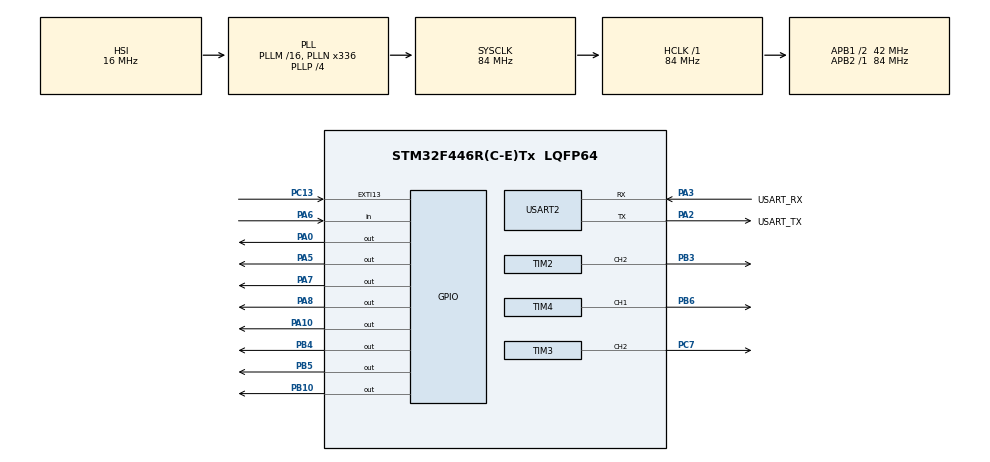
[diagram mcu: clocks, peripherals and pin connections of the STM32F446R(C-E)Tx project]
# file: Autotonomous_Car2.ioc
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Mcu.Family=STM32F4
Mcu.Name=STM32F446R(C-E)Tx
Mcu.Package=LQFP64
NUCLEO-F446RE.BUTTON=1
NUCLEO-F446RE.LD1=true
NVIC.EXTI15_10_IRQn=true\:0\:0\:false\:false\:true\:false\:true\:true
NVIC.PriorityGroup=NVIC_PRIORITYGROUP_0
PA0-WKUP.Signal=GPIO_Output
PA10.Signal=GPIO_Output
PA13.GPIO_Label=TMS
PA13.Signal=SYS_JTMS-SWDIO
PA14.GPIO_Label=TCK
PA14.Signal=SYS_JTCK-SWCLK
PA2.GPIO_Label=USART_TX
PA2.Mode=Asynchronous
PA2.Signal=USART2_TX
PA3.GPIO_Label=USART_RX
PA3.Mode=Asynchronous
PA3.Signal=USART2_RX
PA5.Signal=GPIO_Output
PA6.Signal=GPIO_Input
PA7.Signal=GPIO_Output
PA8.Signal=GPIO_Output
PB10.Signal=GPIO_Output
PB3.Signal=S_TIM2_CH2
PB4.Signal=GPIO_Output
PB5.Signal=GPIO_Output
PB6.Signal=S_TIM4_CH1
PC13.Signal=GPXTI13
PC14-OSC32_IN.Signal=RCC_OSC32_IN
PC15-OSC32_OUT.Signal=RCC_OSC32_OUT
PC7.Signal=S_TIM3_CH2
PH0-OSC_IN.Signal=RCC_OSC_IN
PH1-OSC_OUT.Signal=RCC_OSC_OUT
ProjectManager.HeapSize=0x200
ProjectManager.StackSize=0x400
ProjectManager.TargetToolchain=STM32CubeIDE
RCC.AHBFreq_Value=84000000
RCC.APB1CLKDivider=RCC_HCLK_DIV2
RCC.APB1Freq_Value=42000000
RCC.APB1TimFreq_Value=84000000
RCC.APB2Freq_Value=84000000
RCC.APB2TimFreq_Value=84000000
RCC.CortexFreq_Value=84000000
RCC.FLatency-AdvancedSettings=FLASH_LATENCY_2
RCC.HCLKFreq_Value=84000000
RCC.HSE_VALUE=8000000
RCC.HSI_VALUE=16000000
RCC.LSE_VALUE=32768
RCC.PLLN=336
RCC.PLLP=RCC_PLLP_DIV4
RCC.SYSCLKFreq_VALUE=84000000
RCC.SYSCLKSource=RCC_SYSCLKSOURCE_PLLCLK
RCC.USBFreq_Value=168000000
RCC.VCOOutputFreq_Value=336000000
SH.S_TIM2_CH2.0=TIM2_CH2,PWM Generation2 CH2
SH.S_TIM3_CH2.0=TIM3_CH2,PWM Generation2 CH2
SH.S_TIM4_CH1.0=TIM4_CH1,PWM Generation1 CH1
TIM2.Channel-PWM\ Generation2\ CH2=TIM_CHANNEL_2
TIM2.Period=4199
TIM3.Channel-PWM\ Generation2\ CH2=TIM_CHANNEL_2
TIM3.Period=20000
TIM3.Prescaler=83
TIM4.Channel-PWM\ Generation1\ CH1=TIM_CHANNEL_1
TIM4.Period=4199
TIM5.Prescaler=83
USART2.VirtualMode=VM_ASYNC
VP_NUCLEO-F446RE_VS_BSP_COMMON.Mode=COMMON
VP_TIM2_VS_ClockSourceINT.Mode=Internal
VP_TIM3_VS_ClockSourceINT.Mode=Internal
VP_TIM5_VS_ClockSourceINT.Mode=Internal
board=NUCLEO-F446RE

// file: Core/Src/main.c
/* USER CODE BEGIN Header */
/**
  ******************************************************************************
  * @file           : main.c
  * @brief          : Main program body
  ******************************************************************************
  * @attention
  *
  * Copyright (c) 2026 STMicroelectronics.
  * All rights reserved.
  *
  * This software is licensed under terms that can be found in the LICENSE file
  * in the root directory of this software component.
  * If no LICENSE file comes with this software, it is provided AS-IS.
  *
  ******************************************************************************
  */
/* USER CODE END Header */
#include "main.h"

TIM_HandleTypeDef htim2;
TIM_HandleTypeDef htim3;
TIM_HandleTypeDef htim4;
TIM_HandleTypeDef htim5;

UART_HandleTypeDef huart2;

void SystemClock_Config(void);
static void MX_GPIO_Init(void);
static void MX_TIM2_Init(void);
static void MX_TIM3_Init(void);
static void MX_USART2_UART_Init(void);
static void MX_TIM4_Init(void);
static void MX_TIM5_Init(void);

/* USER CODE BEGIN 0 */

#include <stdio.h>
#include <string.h>

const int max_duty_cycle = 4199; // 0 to 4199

const int side_a_duty_cycle = 4199;
const int side_b_duty_cycle = 3550;

int __io_putchar(int ch)
{
	uint8_t c = (uint8_t)ch;
	HAL_UART_Transmit(&huart2, &c, 1, HAL_MAX_DELAY);
	return ch;
}

void delay_us(uint32_t us)
{
	TIM5->CNT = 0;
	while (TIM5->CNT < us)
	{
		// wait
	}
}

float run_ultrasonic_distance_measurement(void)
{
	int echo_time_us = 0;

	HAL_GPIO_WritePin(GPIOA, GPIO_PIN_7, SET);
	delay_us(10);
	HAL_GPIO_WritePin(GPIOA, GPIO_PIN_7, RESET);

	while (HAL_GPIO_ReadPin(GPIOA, GPIO_PIN_6) == RESET)
	{
		// wait for echo pin to go high
	}

	// Set us timer to 0 then use it for counting
	TIM5->CNT = 0;

	while (HAL_GPIO_ReadPin(GPIOA, GPIO_PIN_6) == SET)
	{
		// timer then accumulates the time echo is high
	}

	echo_time_us = TIM5->CNT;

	// calculate distance
	float distance_cm = ((float)echo_time_us / 1000000.0f) * 343.0f / 2.0f * 100.0f; // converts time to distance in cm

	return distance_cm;
}

void servo_turn_to_angle(int angle)
{
	if (angle == 0)
	{
		TIM3->CCR2 = 500;
		printf("0 degrees \r\n");
	}
	else if (angle == 90)
	{
		TIM3->CCR2 = 1500;
		printf("90 degrees \r\n");
	}
	else if (angle == 180)
	{
		TIM3->CCR2 = 2500;
		printf("180 degrees \r\n");
	}
	else
	{
		printf("Bad angle entered: %d\r\n", angle);
	}

	HAL_Delay(500);
}

void drive_forward(int delay_time)
  {
	  TIM2->CCR2 = side_a_duty_cycle;
	  TIM4->CCR1 = side_b_duty_cycle;

	  HAL_GPIO_WritePin(GPIOB, GPIO_PIN_5, RESET); // AIN1
	  HAL_GPIO_WritePin(GPIOB, GPIO_PIN_4, SET); //AIN2
	  HAL_GPIO_WritePin(GPIOB, GPIO_PIN_10, RESET); //BIN1
	  HAL_GPIO_WritePin(GPIOA, GPIO_PIN_8, SET); //BIN2

	  HAL_Delay(delay_time);
  }

  void stop_car(int delay_time)
  {
	 HAL_GPIO_WritePin(GPIOB, GPIO_PIN_5, RESET); // AIN1
	 HAL_GPIO_WritePin(GPIOB, GPIO_PIN_4, RESET); //AIN2
	 HAL_GPIO_WritePin(GPIOB, GPIO_PIN_10, RESET); //BIN1
	 HAL_GPIO_WritePin(GPIOA, GPIO_PIN_8, RESET); //BIN2

	 HAL_Delay(delay_time);
  }

  void turn_right(int delay_time_forward, int delay_time_backward)
  {
	  TIM2->CCR2 = max_duty_cycle;
	  TIM4->CCR1 = max_duty_cycle;

	  HAL_GPIO_WritePin(GPIOB, GPIO_PIN_5, RESET); // AIN1
	  HAL_GPIO_WritePin(GPIOB, GPIO_PIN_4, SET); //AIN2

	  HAL_GPIO_WritePin(GPIOB, GPIO_PIN_10, RESET); //BIN1
	  HAL_GPIO_WritePin(GPIOA, GPIO_PIN_8, RESET); //BIN2

	  HAL_Delay(delay_time_forward);

	  HAL_GPIO_WritePin(GPIOB, GPIO_PIN_5, RESET); // AIN1
	  HAL_GPIO_WritePin(GPIOB, GPIO_PIN_4, RESET); //AIN2

	  HAL_GPIO_WritePin(GPIOB, GPIO_PIN_10, SET); //BIN1
	  HAL_GPIO_WritePin(GPIOA, GPIO_PIN_8, RESET); //BIN2

	  HAL_Delay(delay_time_backward);

  }

  void turn_left(int delay_time_forward, int delay_time_backward)
   {
	  TIM2->CCR2 = max_duty_cycle;
	  TIM4->CCR1 = max_duty_cycle;

	  HAL_GPIO_WritePin(GPIOB, GPIO_PIN_5, SET); // AIN1
	  HAL_GPIO_WritePin(GPIOB, GPIO_PIN_4, RESET); //AIN2

	  HAL_GPIO_WritePin(GPIOB, GPIO_PIN_10, RESET); //BIN1
	  HAL_GPIO_WritePin(GPIOA, GPIO_PIN_8, RESET); //BIN2

	  HAL_Delay(delay_time_forward);

	  HAL_GPIO_WritePin(GPIOB, GPIO_PIN_5, RESET); // AIN1
	  HAL_GPIO_WritePin(GPIOB, GPIO_PIN_4, RESET); //AIN2

	  HAL_GPIO_WritePin(GPIOB, GPIO_PIN_10, RESET); //BIN1
	  HAL_GPIO_WritePin(GPIOA, GPIO_PIN_8, SET); //BIN2

	  HAL_Delay(delay_time_backward);

   }

  void reverse(int delay_time)
    {
	  TIM2->CCR2 = side_a_duty_cycle;
	  TIM4->CCR1 = side_b_duty_cycle;

	  HAL_GPIO_WritePin(GPIOB, GPIO_PIN_5, SET); // AIN1
	  HAL_GPIO_WritePin(GPIOB, GPIO_PIN_4, RESET); //AIN2
	  HAL_GPIO_WritePin(GPIOB, GPIO_PIN_10, SET); //BIN1
	  HAL_GPIO_WritePin(GPIOA, GPIO_PIN_8, RESET); //BIN2

  	  HAL_Delay(delay_time);

    }

/* USER CODE END 0 */

int main(void)
{

  /* MCU Configuration--------------------------------------------------------*/

  /* Reset of all peripherals, Initializes the Flash interface and the Systick. */
  HAL_Init();

  /* Configure the system clock */
  SystemClock_Config();

  /* Initialize all configured peripherals */
  MX_GPIO_Init();
  MX_TIM2_Init();
  MX_TIM3_Init();
  MX_USART2_UART_Init();
  MX_TIM4_Init();
  MX_TIM5_Init();

  /* Initialize leds */
  BSP_LED_Init(LED2);

  /* Initialize USER push-button, will be used to trigger an interrupt each time it's pressed.*/
  BSP_PB_Init(BUTTON_USER, BUTTON_MODE_EXTI);

  /* Infinite loop */
  /* USER CODE BEGIN WHILE */

  // ------------------------------------------------------------------------------------------------

  //PWM Start for side A and B
  HAL_TIM_PWM_Start(&htim2, TIM_CHANNEL_2);
  HAL_TIM_PWM_Start(&htim4, TIM_CHANNEL_1);

  //PWM Start for ultrasonic timer
  HAL_TIM_Base_Start(&htim5);

  //Create STBY
  HAL_GPIO_WritePin(GPIOA, GPIO_PIN_10, SET);

  //Create AIN1/AIN2
  HAL_GPIO_WritePin(GPIOB, GPIO_PIN_5, RESET); // AIN1
  HAL_GPIO_WritePin(GPIOB, GPIO_PIN_4, RESET); //AIN2

  //Create BIN1/BIN2
  HAL_GPIO_WritePin(GPIOB, GPIO_PIN_10, RESET); //BIN1
  HAL_GPIO_WritePin(GPIOA, GPIO_PIN_8, RESET); //BIN2

  //PWM for SG90
  HAL_TIM_PWM_Start(&htim3, TIM_CHANNEL_2);

  // Configure TRIG pin for ultrasoic sensor
  HAL_GPIO_WritePin(GPIOA, GPIO_PIN_7, RESET);

  // turn on lights
  HAL_GPIO_WritePin(GPIOA, GPIO_PIN_0, SET);

  // start pwm for motors
  TIM2->CCR2 = side_a_duty_cycle;
  TIM4->CCR1 = side_b_duty_cycle;

  printf("Hello from stm32 \r\n");

  float obstacle_distance_limit__cm = 75.0f;

  while (1) // main loop
  {

	  servo_turn_to_angle(90);

	  float straight_distance_cm = run_ultrasonic_distance_measurement();

	  printf("Straight: %d cm\r\n", (int)straight_distance_cm);

	  if (straight_distance_cm > obstacle_distance_limit__cm)
	  {
	      drive_forward(200);
	  }
	  else
	  {
		  stop_car(200);

	      servo_turn_to_angle(180);
	      float left_distance_cm = run_ultrasonic_distance_measurement();

	      servo_turn_to_angle(0);
	      float right_distance_cm = run_ultrasonic_distance_measurement();

	      servo_turn_to_angle(90);

	      printf("Left: %d cm | Right: %d cm\r\n", (int)left_distance_cm, (int)right_distance_cm);

	      if (left_distance_cm > right_distance_cm)
	      {
	         printf("Turning left\r\n");
	         turn_left(1500, 1500);
	      }
	      else
	      {
	         printf("Turning right\r\n");
	         turn_right(1500, 1500);
	      }

	      stop_car(200);

	   }

    /* USER CODE END WHILE */

  }
}

void SystemClock_Config(void)
{
  RCC_OscInitTypeDef RCC_OscInitStruct = {0};
  RCC_ClkInitTypeDef RCC_ClkInitStruct = {0};

  /** Configure the main internal regulator output voltage
  */
  __HAL_RCC_PWR_CLK_ENABLE();
  __HAL_PWR_VOLTAGESCALING_CONFIG(PWR_REGULATOR_VOLTAGE_SCALE3);

  /** Initializes the RCC Oscillators according to the specified parameters
  * in the RCC_OscInitTypeDef structure.
  */
  RCC_OscInitStruct.OscillatorType = RCC_OSCILLATORTYPE_HSI;
  RCC_OscInitStruct.HSIState = RCC_HSI_ON;
  RCC_OscInitStruct.HSICalibrationValue = RCC_HSICALIBRATION_DEFAULT;
  RCC_OscInitStruct.PLL.PLLState = RCC_PLL_ON;
  RCC_OscInitStruct.PLL.PLLSource = RCC_PLLSOURCE_HSI;
  RCC_OscInitStruct.PLL.PLLM = 16;
  RCC_OscInitStruct.PLL.PLLN = 336;
  RCC_OscInitStruct.PLL.PLLP = RCC_PLLP_DIV4;
  RCC_OscInitStruct.PLL.PLLQ = 2;
  RCC_OscInitStruct.PLL.PLLR = 2;
  if (HAL_RCC_OscConfig(&RCC_OscInitStruct) != HAL_OK)
  {
    Error_Handler();
  }

  /** Initializes the CPU, AHB and APB buses clocks
  */
  RCC_ClkInitStruct.ClockType = RCC_CLOCKTYPE_HCLK|RCC_CLOCKTYPE_SYSCLK
                              |RCC_CLOCKTYPE_PCLK1|RCC_CLOCKTYPE_PCLK2;
  RCC_ClkInitStruct.SYSCLKSource = RCC_SYSCLKSOURCE_PLLCLK;
  RCC_ClkInitStruct.AHBCLKDivider = RCC_SYSCLK_DIV1;
  RCC_ClkInitStruct.APB1CLKDivider = RCC_HCLK_DIV2;
  RCC_ClkInitStruct.APB2CLKDivider = RCC_HCLK_DIV1;

  if (HAL_RCC_ClockConfig(&RCC_ClkInitStruct, FLASH_LATENCY_2) != HAL_OK)
  {
    Error_Handler();
  }
}

static void MX_TIM2_Init(void)
{

  TIM_ClockConfigTypeDef sClockSourceConfig = {0};
  TIM_MasterConfigTypeDef sMasterConfig = {0};
  TIM_OC_InitTypeDef sConfigOC = {0};

  htim2.Instance = TIM2;
  htim2.Init.Prescaler = 0;
  htim2.Init.CounterMode = TIM_COUNTERMODE_UP;
  htim2.Init.Period = 4199;
  htim2.Init.ClockDivision = TIM_CLOCKDIVISION_DIV1;
  htim2.Init.AutoReloadPreload = TIM_AUTORELOAD_PRELOAD_DISABLE;
  if (HAL_TIM_Base_Init(&htim2) != HAL_OK)
  {
    Error_Handler();
  }
  sClockSourceConfig.ClockSource = TIM_CLOCKSOURCE_INTERNAL;
  if (HAL_TIM_ConfigClockSource(&htim2, &sClockSourceConfig) != HAL_OK)
  {
    Error_Handler();
  }
  if (HAL_TIM_PWM_Init(&htim2) != HAL_OK)
  {
    Error_Handler();
  }
  sMasterConfig.MasterOutputTrigger = TIM_TRGO_RESET;
  sMasterConfig.MasterSlaveMode = TIM_MASTERSLAVEMODE_DISABLE;
  if (HAL_TIMEx_MasterConfigSynchronization(&htim2, &sMasterConfig) != HAL_OK)
  {
    Error_Handler();
  }
  sConfigOC.OCMode = TIM_OCMODE_PWM1;
  sConfigOC.Pulse = 0;
  sConfigOC.OCPolarity = TIM_OCPOLARITY_HIGH;
  sConfigOC.OCFastMode = TIM_OCFAST_DISABLE;
  if (HAL_TIM_PWM_ConfigChannel(&htim2, &sConfigOC, TIM_CHANNEL_2) != HAL_OK)
  {
    Error_Handler();
  }
  HAL_TIM_MspPostInit(&htim2);

}

static void MX_TIM3_Init(void)
{

  TIM_ClockConfigTypeDef sClockSourceConfig = {0};
  TIM_MasterConfigTypeDef sMasterConfig = {0};
  TIM_OC_InitTypeDef sConfigOC = {0};

  htim3.Instance = TIM3;
  htim3.Init.Prescaler = 83;
  htim3.Init.CounterMode = TIM_COUNTERMODE_UP;
  htim3.Init.Period = 20000;
  htim3.Init.ClockDivision = TIM_CLOCKDIVISION_DIV1;
  htim3.Init.AutoReloadPreload = TIM_AUTORELOAD_PRELOAD_DISABLE;
  if (HAL_TIM_Base_Init(&htim3) != HAL_OK)
  {
    Error_Handler();
  }
  sClockSourceConfig.ClockSource = TIM_CLOCKSOURCE_INTERNAL;
  if (HAL_TIM_ConfigClockSource(&htim3, &sClockSourceConfig) != HAL_OK)
  {
    Error_Handler();
  }
  if (HAL_TIM_PWM_Init(&htim3) != HAL_OK)
  {
    Error_Handler();
  }
  sMasterConfig.MasterOutputTrigger = TIM_TRGO_RESET;
  sMasterConfig.MasterSlaveMode = TIM_MASTERSLAVEMODE_DISABLE;
  if (HAL_TIMEx_MasterConfigSynchronization(&htim3, &sMasterConfig) != HAL_OK)
  {
    Error_Handler();
  }
  sConfigOC.OCMode = TIM_OCMODE_PWM1;
  sConfigOC.Pulse = 0;
  sConfigOC.OCPolarity = TIM_OCPOLARITY_HIGH;
  sConfigOC.OCFastMode = TIM_OCFAST_DISABLE;
  if (HAL_TIM_PWM_ConfigChannel(&htim3, &sConfigOC, TIM_CHANNEL_2) != HAL_OK)
  {
    Error_Handler();
  }
  HAL_TIM_MspPostInit(&htim3);

}

static void MX_TIM4_Init(void)
{

  TIM_MasterConfigTypeDef sMasterConfig = {0};
  TIM_OC_InitTypeDef sConfigOC = {0};

  htim4.Instance = TIM4;
  htim4.Init.Prescaler = 0;
  htim4.Init.CounterMode = TIM_COUNTERMODE_UP;
  htim4.Init.Period = 4199;
  htim4.Init.ClockDivision = TIM_CLOCKDIVISION_DIV1;
  htim4.Init.AutoReloadPreload = TIM_AUTORELOAD_PRELOAD_DISABLE;
  if (HAL_TIM_PWM_Init(&htim4) != HAL_OK)
  {
    Error_Handler();
  }
  sMasterConfig.MasterOutputTrigger = TIM_TRGO_RESET;
  sMasterConfig.MasterSlaveMode = TIM_MASTERSLAVEMODE_DISABLE;
  if (HAL_TIMEx_MasterConfigSynchronization(&htim4, &sMasterConfig) != HAL_OK)
  {
    Error_Handler();
  }
  sConfigOC.OCMode = TIM_OCMODE_PWM1;
  sConfigOC.Pulse = 0;
  sConfigOC.OCPolarity = TIM_OCPOLARITY_HIGH;
  sConfigOC.OCFastMode = TIM_OCFAST_DISABLE;
  if (HAL_TIM_PWM_ConfigChannel(&htim4, &sConfigOC, TIM_CHANNEL_1) != HAL_OK)
  {
    Error_Handler();
  }
  HAL_TIM_MspPostInit(&htim4);

}

static void MX_TIM5_Init(void)
{

  TIM_ClockConfigTypeDef sClockSourceConfig = {0};
  TIM_MasterConfigTypeDef sMasterConfig = {0};

  htim5.Instance = TIM5;
  htim5.Init.Prescaler = 83;
  htim5.Init.CounterMode = TIM_COUNTERMODE_UP;
  htim5.Init.Period = 4294967295;
  htim5.Init.ClockDivision = TIM_CLOCKDIVISION_DIV1;
  htim5.Init.AutoReloadPreload = TIM_AUTORELOAD_PRELOAD_DISABLE;
  if (HAL_TIM_Base_Init(&htim5) != HAL_OK)
  {
    Error_Handler();
  }
  sClockSourceConfig.ClockSource = TIM_CLOCKSOURCE_INTERNAL;
  if (HAL_TIM_ConfigClockSource(&htim5, &sClockSourceConfig) != HAL_OK)
  {
    Error_Handler();
  }
  sMasterConfig.MasterOutputTrigger = TIM_TRGO_RESET;
  sMasterConfig.MasterSlaveMode = TIM_MASTERSLAVEMODE_DISABLE;
  if (HAL_TIMEx_MasterConfigSynchronization(&htim5, &sMasterConfig) != HAL_OK)
  {
    Error_Handler();
  }

}

static void MX_USART2_UART_Init(void)
{

  huart2.Instance = USART2;
  huart2.Init.BaudRate = 115200;
  huart2.Init.WordLength = UART_WORDLENGTH_8B;
  huart2.Init.StopBits = UART_STOPBITS_1;
  huart2.Init.Parity = UART_PARITY_NONE;
  huart2.Init.Mode = UART_MODE_TX_RX;
  huart2.Init.HwFlowCtl = UART_HWCONTROL_NONE;
  huart2.Init.OverSampling = UART_OVERSAMPLING_16;
  if (HAL_UART_Init(&huart2) != HAL_OK)
  {
    Error_Handler();
  }

}

static void MX_GPIO_Init(void)
{
  GPIO_InitTypeDef GPIO_InitStruct = {0};

  /* GPIO Ports Clock Enable */
  __HAL_RCC_GPIOC_CLK_ENABLE();
  __HAL_RCC_GPIOH_CLK_ENABLE();
  __HAL_RCC_GPIOA_CLK_ENABLE();
  __HAL_RCC_GPIOB_CLK_ENABLE();

  /*Configure GPIO pin Output Level */
  HAL_GPIO_WritePin(GPIOA, GPIO_PIN_0|GPIO_PIN_7|GPIO_PIN_8|GPIO_PIN_10, GPIO_PIN_RESET);

  /*Configure GPIO pin Output Level */
  HAL_GPIO_WritePin(GPIOB, GPIO_PIN_10|GPIO_PIN_4|GPIO_PIN_5, GPIO_PIN_RESET);

  /*Configure GPIO pins : PA0 PA7 PA8 PA10 */
  GPIO_InitStruct.Pin = GPIO_PIN_0|GPIO_PIN_7|GPIO_PIN_8|GPIO_PIN_10;
  GPIO_InitStruct.Mode = GPIO_MODE_OUTPUT_PP;
  GPIO_InitStruct.Pull = GPIO_NOPULL;
  GPIO_InitStruct.Speed = GPIO_SPEED_FREQ_LOW;
  HAL_GPIO_Init(GPIOA, &GPIO_InitStruct);

  /*Configure GPIO pin : PA6 */
  GPIO_InitStruct.Pin = GPIO_PIN_6;
  GPIO_InitStruct.Mode = GPIO_MODE_INPUT;
  GPIO_InitStruct.Pull = GPIO_NOPULL;
  HAL_GPIO_Init(GPIOA, &GPIO_InitStruct);

  /*Configure GPIO pins : PB10 PB4 PB5 */
  GPIO_InitStruct.Pin = GPIO_PIN_10|GPIO_PIN_4|GPIO_PIN_5;
  GPIO_InitStruct.Mode = GPIO_MODE_OUTPUT_PP;
  GPIO_InitStruct.Pull = GPIO_NOPULL;
  GPIO_InitStruct.Speed = GPIO_SPEED_FREQ_LOW;
  HAL_GPIO_Init(GPIOB, &GPIO_InitStruct);

}

void Error_Handler(void)
{
  __disable_irq();
  while (1)
  {
  }
}
